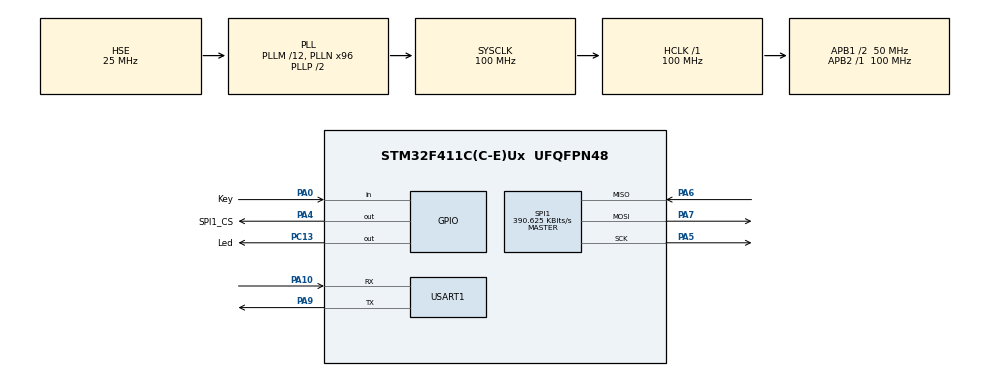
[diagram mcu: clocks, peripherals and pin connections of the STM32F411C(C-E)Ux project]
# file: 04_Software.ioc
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Dma.Request0=USART1_RX
Dma.USART1_RX.0.Direction=DMA_PERIPH_TO_MEMORY
Dma.USART1_RX.0.FIFOMode=DMA_FIFOMODE_DISABLE
Dma.USART1_RX.0.Instance=DMA2_Stream2
Dma.USART1_RX.0.MemDataAlignment=DMA_MDATAALIGN_BYTE
Dma.USART1_RX.0.MemInc=DMA_MINC_ENABLE
Dma.USART1_RX.0.Mode=DMA_NORMAL
Dma.USART1_RX.0.PeriphDataAlignment=DMA_PDATAALIGN_BYTE
Dma.USART1_RX.0.PeriphInc=DMA_PINC_DISABLE
Dma.USART1_RX.0.Priority=DMA_PRIORITY_LOW
FREERTOS.Tasks01=defaultTask,24,128,StartDefaultTask,Default,NULL,Dynamic,NULL,NULL
Mcu.Family=STM32F4
Mcu.Name=STM32F411C(C-E)Ux
Mcu.Package=UFQFPN48
NVIC.DMA2_Stream2_IRQn=true\:5\:0\:false\:false\:true\:true\:false\:true\:true
NVIC.PriorityGroup=NVIC_PRIORITYGROUP_4
NVIC.TIM1_TRG_COM_TIM11_IRQn=true\:15\:0\:false\:false\:true\:false\:false\:true\:true
NVIC.TimeBase=TIM1_TRG_COM_TIM11_IRQn
NVIC.TimeBaseIP=TIM11
NVIC.USART1_IRQn=true\:5\:0\:false\:false\:true\:true\:true\:true\:true
PA0-WKUP.GPIO_Label=Key
PA0-WKUP.GPIO_PuPd=GPIO_PULLUP
PA0-WKUP.Signal=GPIO_Input
PA10.Mode=Asynchronous
PA10.Signal=USART1_RX
PA13.Mode=Serial_Wire
PA13.Signal=SYS_JTMS-SWDIO
PA14.Mode=Serial_Wire
PA14.Signal=SYS_JTCK-SWCLK
PA4.GPIO_Label=SPI1_CS
PA4.GPIO_Speed=GPIO_SPEED_FREQ_HIGH
PA4.PinState=GPIO_PIN_SET
PA4.Signal=GPIO_Output
PA5.Mode=Full_Duplex_Master
PA5.Signal=SPI1_SCK
PA6.Mode=Full_Duplex_Master
PA6.Signal=SPI1_MISO
PA7.Mode=Full_Duplex_Master
PA7.Signal=SPI1_MOSI
PA9.Mode=Asynchronous
PA9.Signal=USART1_TX
PC13-ANTI_TAMP.GPIO_Label=Led
PC13-ANTI_TAMP.GPIO_PuPd=GPIO_NOPULL
PC13-ANTI_TAMP.Signal=GPIO_Output
PH0\ -\ OSC_IN.Mode=HSE-External-Oscillator
PH0\ -\ OSC_IN.Signal=RCC_OSC_IN
PH1\ -\ OSC_OUT.Mode=HSE-External-Oscillator
PH1\ -\ OSC_OUT.Signal=RCC_OSC_OUT
ProjectManager.HeapSize=0x200
ProjectManager.StackSize=0x400
ProjectManager.TargetToolchain=MDK-ARM V5.32
RCC.48MHZClocksFreq_Value=50000000
RCC.AHBFreq_Value=100000000
RCC.APB1CLKDivider=RCC_HCLK_DIV2
RCC.APB1Freq_Value=50000000
RCC.APB1TimFreq_Value=100000000
RCC.APB2Freq_Value=100000000
RCC.APB2TimFreq_Value=100000000
RCC.CortexFreq_Value=100000000
RCC.HCLKFreq_Value=100000000
RCC.HSE_VALUE=25000000
RCC.HSI_VALUE=16000000
RCC.LSE_VALUE=32768
RCC.PLLM=12
RCC.PLLN=96
RCC.PLLSourceVirtual=RCC_PLLSOURCE_HSE
RCC.SYSCLKFreq_VALUE=100000000
RCC.SYSCLKSource=RCC_SYSCLKSOURCE_PLLCLK
RCC.VCOOutputFreq_Value=200000000
SPI1.BaudRatePrescaler=SPI_BAUDRATEPRESCALER_256
SPI1.CalculateBaudRate=390.625 KBits/s
SPI1.Direction=SPI_DIRECTION_2LINES
SPI1.Mode=SPI_MODE_MASTER
SPI1.VirtualType=VM_MASTER
USART1.VirtualMode=VM_ASYNC
VP_FREERTOS_VS_CMSIS_V2.Mode=CMSIS_V2
VP_SYS_VS_tim11.Mode=TIM11
board=custom

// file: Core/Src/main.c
/* USER CODE BEGIN Header */
/**
  ******************************************************************************
  * @file           : main.c
  * @brief          : Main program body
  ******************************************************************************
  * @attention
  *
  * Copyright (c) 2025 STMicroelectronics.
  * All rights reserved.
  *
  * This software is licensed under terms that can be found in the LICENSE file
  * in the root directory of this software component.
  * If no LICENSE file comes with this software, it is provided AS-IS.
  *
  ******************************************************************************
  */
/* USER CODE END Header */
#include "main.h"
#include "cmsis_os.h"
#include "dma.h"
#include "spi.h"
#include "usart.h"
#include "gpio.h"

/* USER CODE BEGIN Includes */
#include "AT24Cxx_Driver.h"
#include "elog.h"
#include "SEGGER_RTT.h"
#include "W25Qxx_handler.h"
#include "AT24Cxx_Driver.h"
/* USER CODE END Includes */

void SystemClock_Config(void);
void MX_FREERTOS_Init(void);
/* USER CODE BEGIN PFP */

void app_elog_init(void);
void System_SoftwareReset(void);
/* USER CODE END PFP */

int main(void)
{
  /* USER CODE BEGIN 1 */
    SysTick->CTRL = 0;
	HAL_DeInit();
	HAL_Init();
	__enable_irq();
  /* USER CODE END 1 */

  /* MCU Configuration--------------------------------------------------------*/

  /* Reset of all peripherals, Initializes the Flash interface and the Systick. */
  //HAL_Init();

  /* Configure the system clock */
  SystemClock_Config();

  /* Initialize all configured peripherals */
  MX_GPIO_Init();
  MX_DMA_Init();
  MX_USART1_UART_Init();
  MX_SPI1_Init();
  /* USER CODE BEGIN 2 */
	//test
  SEGGER_RTT_Init();
  app_elog_init();
  ee_CheckOk();

  uint8_t eeflag = 255;
  ee_ReadBytes(&eeflag,0x00,1);
  if( 0x44 == eeflag)
  {
    eeflag = 0x00;
    ee_WriteBytes(&eeflag,0x00,1);
    while(1)
    {

    }
  }
  else if(0x00 != eeflag)
  {
        //软件复位
        System_SoftwareReset();
  }
  W25Q64_Init();
  /* USER CODE END 2 */

  /* Init scheduler */
  osKernelInitialize();  /* Call init function for freertos objects (in freertos.c) */
  MX_FREERTOS_Init();

  /* Start scheduler */
  osKernelStart();
  /* We should never get here as control is now taken by the scheduler */
  /* Infinite loop */
  while (1)
  {

  }
}

void SystemClock_Config(void)
{
  RCC_OscInitTypeDef RCC_OscInitStruct = {0};
  RCC_ClkInitTypeDef RCC_ClkInitStruct = {0};

  /** Configure the main internal regulator output voltage
  */
  __HAL_RCC_PWR_CLK_ENABLE();
  __HAL_PWR_VOLTAGESCALING_CONFIG(PWR_REGULATOR_VOLTAGE_SCALE1);

  /** Initializes the RCC Oscillators according to the specified parameters
  * in the RCC_OscInitTypeDef structure.
  */
  RCC_OscInitStruct.OscillatorType = RCC_OSCILLATORTYPE_HSE;
  RCC_OscInitStruct.HSEState = RCC_HSE_ON;
  RCC_OscInitStruct.PLL.PLLState = RCC_PLL_ON;
  RCC_OscInitStruct.PLL.PLLSource = RCC_PLLSOURCE_HSE;
  RCC_OscInitStruct.PLL.PLLM = 12;
  RCC_OscInitStruct.PLL.PLLN = 96;
  RCC_OscInitStruct.PLL.PLLP = RCC_PLLP_DIV2;
  RCC_OscInitStruct.PLL.PLLQ = 4;
  if (HAL_RCC_OscConfig(&RCC_OscInitStruct) != HAL_OK)
  {
    Error_Handler();
  }

  /** Initializes the CPU, AHB and APB buses clocks
  */
  RCC_ClkInitStruct.ClockType = RCC_CLOCKTYPE_HCLK|RCC_CLOCKTYPE_SYSCLK
                              |RCC_CLOCKTYPE_PCLK1|RCC_CLOCKTYPE_PCLK2;
  RCC_ClkInitStruct.SYSCLKSource = RCC_SYSCLKSOURCE_PLLCLK;
  RCC_ClkInitStruct.AHBCLKDivider = RCC_SYSCLK_DIV1;
  RCC_ClkInitStruct.APB1CLKDivider = RCC_HCLK_DIV2;
  RCC_ClkInitStruct.APB2CLKDivider = RCC_HCLK_DIV1;

  if (HAL_RCC_ClockConfig(&RCC_ClkInitStruct, FLASH_LATENCY_3) != HAL_OK)
  {
    Error_Handler();
  }
}

/* USER CODE BEGIN 4 */
void app_elog_init(void)
{
    elog_init();
    elog_set_text_color_enabled(true);
    elog_set_fmt(ELOG_LVL_ASSERT,ELOG_FMT_ALL);
    elog_set_fmt(ELOG_LVL_ERROR,ELOG_FMT_LVL |ELOG_FMT_TAG );
    elog_set_fmt(ELOG_LVL_WARN,ELOG_FMT_LVL |ELOG_FMT_TAG );
    elog_set_fmt(ELOG_LVL_INFO,ELOG_FMT_LVL |ELOG_FMT_TAG );
    elog_set_fmt(ELOG_LVL_DEBUG,ELOG_FMT_ALL & ~(ELOG_FMT_TIME | ELOG_FMT_P_INFO));
    elog_set_fmt(ELOG_LVL_VERBOSE,ELOG_FMT_ALL);
    elog_start();
}
/**
 * @brief 软件复位单片机
 *
 * @param None
 *
 * @return: None
 */
void System_SoftwareReset(void)
{
  __NVIC_SystemReset();
}
/* USER CODE END 4 */

void HAL_TIM_PeriodElapsedCallback(TIM_HandleTypeDef *htim)
{
  if (htim->Instance == TIM11) {
    HAL_IncTick();
  }
}

void Error_Handler(void)
{
  __disable_irq();
  while (1)
  {
  }
}

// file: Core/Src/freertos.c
/* USER CODE BEGIN Header */
/**
  ******************************************************************************
  * File Name          : freertos.c
  * Description        : Code for freertos applications
  ******************************************************************************
  * @attention
  *
  * Copyright (c) 2025 STMicroelectronics.
  * All rights reserved.
  *
  * This software is licensed under terms that can be found in the LICENSE file
  * in the root directory of this software component.
  * If no LICENSE file comes with this software, it is provided AS-IS.
  *
  ******************************************************************************
  */
/* USER CODE END Header */

#include "FreeRTOS.h"
#include "task.h"
#include "main.h"
#include "cmsis_os.h"

/* USER CODE BEGIN Includes */
#include "gpio.h"
#include "usart.h"
#include "queue.h"
#include "ymodem.h"
#include "SWC_OTA.h"
/* USER CODE END Includes */

/* USER CODE BEGIN Variables */
QueueHandle_t Q_YmodemReclength;

extern osThreadAttr_t OTA_task_attributes;
extern osThreadId_t OTA_taskHandle;
/* USER CODE END Variables */
/* Definitions for defaultTask */
osThreadId_t defaultTaskHandle;
const osThreadAttr_t defaultTask_attributes = {
  .name = "defaultTask",
  .stack_size = 128 * 4,
  .priority = (osPriority_t) osPriorityNormal,
};

void StartDefaultTask(void *argument);

void MX_FREERTOS_Init(void); /* (MISRA C 2004 rule 8.1) */

void MX_FREERTOS_Init(void) {

  /* USER CODE BEGIN RTOS_QUEUES */
  /* add queues, ... */
  Q_YmodemReclength = xQueueCreate(1,sizeof(uint16_t));
  /* USER CODE END RTOS_QUEUES */

  /* Create the thread(s) */
  /* creation of defaultTask */
  defaultTaskHandle = osThreadNew(StartDefaultTask, NULL, &defaultTask_attributes);

  OTA_taskHandle = osThreadNew(ota_task_runnable, NULL, &OTA_task_attributes);

}

uint8_t rec_cmd[10] = {0};
void StartDefaultTask(void *argument)
{
  /* USER CODE BEGIN StartDefaultTask */
  //HAL_UARTEx_ReceiveToIdle_DMA(&huart1, rec_cmd, 10);
  /* Infinite loop */
  for(;;)
  {
    HAL_GPIO_WritePin(Led_GPIO_Port, Led_Pin, GPIO_PIN_RESET);
    osDelay(500);
    HAL_GPIO_WritePin(Led_GPIO_Port, Led_Pin, GPIO_PIN_SET);
    osDelay(500);
    //test
    // if(rec_len !=0)
    // {
    //   for(uint8_t i = 0; i< rec_len; i++)
    //   {
    //     HAL_UART_Transmit(&huart1,&rec_cmd[i],1,10);
    //   }
    //   rec_len = 0;
    //   HAL_UARTEx_ReceiveToIdle_DMA(&huart1, rec_cmd, 10);
    // }
  }
  /* USER CODE END StartDefaultTask */
}

/* USER CODE BEGIN Application */
extern DMA_HandleTypeDef hdma_usart1_rx;
void HAL_UARTEx_RxEventCallback(UART_HandleTypeDef *huart, uint16_t Size)
{
  UNUSED(huart);
  UNUSED(Size);
	uint16_t t_u16_rec_len = 0;
	BaseType_t xHigherPriorityTaskWoken = pdFALSE;

  //判断是串口1
  if (huart->Instance == USART1)
  {
      //获取剩余当前传输值
			if(1 == __HAL_UART_GET_FLAG(huart,UART_FLAG_IDLE))
			{
				t_u16_rec_len = Size;
        if(pdFALSE != xQueueSendFromISR(Q_YmodemReclength,&t_u16_rec_len,0))
				{
					xHigherPriorityTaskWoken = pdTRUE;
				}
				HAL_UART_DMAStop(huart);
			}
			portYIELD_FROM_ISR(xHigherPriorityTaskWoken);
      // DMA 传输完成后的操作
  }
}
/* USER CODE END Application */
